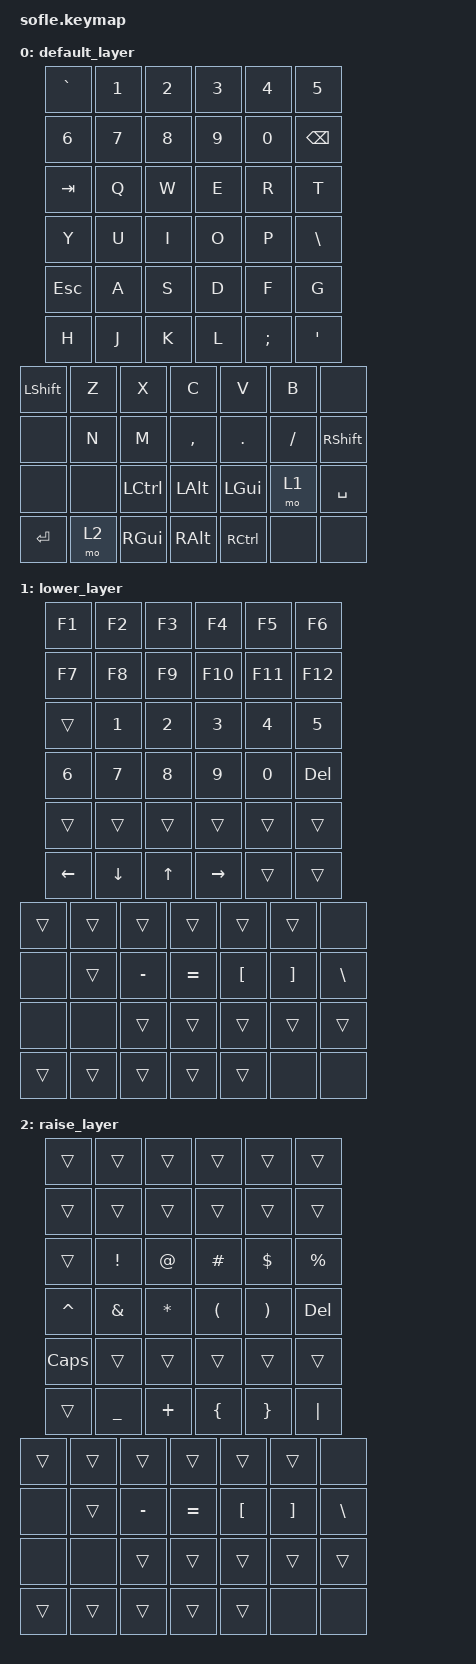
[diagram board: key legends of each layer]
/*
 * Copyright (c) 2024 He3F
 * SPDX-License-Identifier: MIT
 *
 * Sofle keymap – 3 layers, 64 bindings each.
 *
 * Physical layout (left | right) with transform column indices:
 *
 *  Row 0 (12):  K  K  K  K  K  K  [skip 6,7]  K  K  K  K  K  K
 *  Row 1 (12):  K  K  K  K  K  K  [skip 6,7]  K  K  K  K  K  K
 *  Row 2 (12):  K  K  K  K  K  K  [skip 6,7]  K  K  K  K  K  K
 *  Row 3 (14):  K  K  K  K  K  K  R            R  K  K  K  K  K  K
 *  Row 4 (14):  #  #  K  K  K  K  K            K  K  K  K  K  #  #
 *
 *  #  = empty matrix position (not wired)     → &none
 *  R  = rotary encoder push-button            → &none until CONFIG_EC11 enabled
 *  K  = regular key switch
 *
 * Binding order mirrors the transform map exactly (left→right, top→bottom).
 * Right-half bindings are &trans placeholders while running left-only
 * (CONFIG_ZMK_SPLIT=n); they activate once split mode is enabled.
 *
 * ┌──────┬──────┬──────┬──────┬──────┬──────┐                   ┌──────┬──────┬──────┬──────┬──────┬──────┐
 * │  `   │  1   │  2   │  3   │  4   │  5   │                   │  6   │  7   │  8   │  9   │  0   │ BSPC │
 * ├──────┼──────┼──────┼──────┼──────┼──────┤                   ├──────┼──────┼──────┼──────┼──────┼──────┤
 * │ TAB  │  Q   │  W   │  E   │  R   │  T   │                   │  Y   │  U   │  I   │  O   │  P   │  \   │
 * ├──────┼──────┼──────┼──────┼──────┼──────┤                   ├──────┼──────┼──────┼──────┼──────┼──────┤
 * │ ESC  │  A   │  S   │  D   │  F   │  G   │                   │  H   │  J   │  K   │  L   │  ;   │  '   │
 * ├──────┼──────┼──────┼──────┼──────┼──────┼──────┐   ┌──────┼──────┼──────┼──────┼──────┼──────┼──────┤
 * │LSHFT │  Z   │  X   │  C   │  V   │  B   │[enc] │   │[enc] │  N   │  M   │  ,   │  .   │  /   │RSHFT │
 * ├──────┼──────┼──────┼──────┼──────┼──────┼──────┤   ├──────┼──────┼──────┼──────┼──────┼──────┼──────┤
 * │  [#] │  [#] │LCTRL │ LALT │ LGUI │MO(1) │ SPC  │   │ ENT  │MO(2) │ RGUI │ RALT │RCTRL │  [#] │  [#] │
 * └──────┴──────┴──────┴──────┴──────┴──────┴──────┘   └──────┴──────┴──────┴──────┴──────┴──────┴──────┘
 *  [#] = empty (not wired)   [enc] = encoder button (disabled for now)
 */

#include <behaviors.dtsi>
#include <dt-bindings/zmk/keys.h>

/ {
    keymap {
        compatible = "zmk,keymap";

        /* ───────────────────────── Layer 0 – QWERTY default ───────────────────────── */
        default_layer {
            bindings = <
            /* row 0 – number row                                   12 keys             */
            &kp GRAVE  &kp N1     &kp N2     &kp N3     &kp N4     &kp N5
                                                                               &kp N6     &kp N7     &kp N8     &kp N9     &kp N0     &kp BSPC
            /* row 1 – QWERTY                                       12 keys             */
            &kp TAB    &kp Q      &kp W      &kp E      &kp R      &kp T
                                                                               &kp Y      &kp U      &kp I      &kp O      &kp P      &kp BSLH
            /* row 2 – home row                                     12 keys             */
            &kp ESC    &kp A      &kp S      &kp D      &kp F      &kp G
                                                                               &kp H      &kp J      &kp K      &kp L      &kp SEMI   &kp SQT
            /* row 3 – bottom row; col 6 = enc btn L, col 7 = enc btn R   14 keys      */
            &kp LSHFT  &kp Z      &kp X      &kp C      &kp V      &kp B      &none
                                                                    &none      &kp N      &kp M      &kp COMMA  &kp DOT    &kp FSLH   &kp RSHFT
            /* row 4 – thumb cluster; cols 0-1 empty L, cols 12-13 empty R 14 keys     */
            &none      &none      &kp LCTRL  &kp LALT   &kp LGUI   &mo 1      &kp SPACE
                                                                    &kp RET    &mo 2      &kp RGUI   &kp RALT   &kp RCTRL  &none      &none
            >;
        };

        /* ─────────────────────── Layer 1 – Lower (numbers / nav) ──────────────────── */
        lower_layer {
            /*
             * ┌────┬────┬────┬────┬────┬────┐             ┌────┬────┬────┬────┬────┬────┐
             * │ F1 │ F2 │ F3 │ F4 │ F5 │ F6 │             │ F7 │ F8 │ F9 │F10 │F11 │F12 │
             * ├────┼────┼────┼────┼────┼────┤             ├────┼────┼────┼────┼────┼────┤
             * │    │  1 │  2 │  3 │  4 │  5 │             │  6 │  7 │  8 │  9 │  0 │ DEL│
             * ├────┼────┼────┼────┼────┼────┤             ├────┼────┼────┼────┼────┼────┤
             * │    │    │    │    │    │    │             │ ◄  │ ▼  │ ▲  │ ►  │    │    │
             * ├────┼────┼────┼────┼────┼────┼────┐ ┌────┼────┼────┼────┼────┼────┼────┤
             * │    │    │    │    │    │    │    │ │    │    │  - │  = │  [ │  ] │  \ │    │
             * ├────┼────┼────┼────┼────┼────┼────┤ ├────┼────┼────┼────┼────┼────┼────┤
             * │ [#]│ [#]│    │    │    │[MO1│    │ │    │[MO2│    │    │    │ [#]│ [#]│
             * └────┴────┴────┴────┴────┴────┴────┘ └────┴────┴────┴────┴────┴────┴────┘
             */
            bindings = <
            /* row 0 – function keys                                12 keys             */
            &kp F1     &kp F2     &kp F3     &kp F4     &kp F5     &kp F6
                                                                               &kp F7     &kp F8     &kp F9     &kp F10    &kp F11    &kp F12
            /* row 1 – number row + DEL                            12 keys             */
            &trans     &kp N1     &kp N2     &kp N3     &kp N4     &kp N5
                                                                               &kp N6     &kp N7     &kp N8     &kp N9     &kp N0     &kp DEL
            /* row 2 – arrow cluster on right                      12 keys             */
            &trans     &trans     &trans     &trans     &trans     &trans
                                                                               &kp LEFT   &kp DOWN   &kp UP     &kp RIGHT  &trans     &trans
            /* row 3                                               14 keys             */
            &trans     &trans     &trans     &trans     &trans     &trans     &none
                                                                    &none      &trans     &kp MINUS  &kp EQUAL  &kp LBKT   &kp RBKT   &kp BSLH
            /* row 4 – outer empties stay dead, held layer key transparent  14 keys   */
            &none      &none      &trans     &trans     &trans     &trans     &trans
                                                                    &trans     &trans     &trans     &trans     &trans     &none      &none
            >;
        };

        /* ─────────────────────── Layer 2 – Raise (symbols) ────────────────────────── */
        raise_layer {
            /*
             * ┌────┬────┬────┬────┬────┬────┐             ┌────┬────┬────┬────┬────┬────┐
             * │    │    │    │    │    │    │             │    │    │    │    │    │    │
             * ├────┼────┼────┼────┼────┼────┤             ├────┼────┼────┼────┼────┼────┤
             * │    │  ! │  @ │  # │  $ │  % │             │  ^ │  & │  * │  ( │  ) │ DEL│
             * ├────┼────┼────┼────┼────┼────┤             ├────┼────┼────┼────┼────┼────┤
             * │CAPS│    │    │    │    │    │             │    │  _ │  + │  { │  } │  | │
             * ├────┼────┼────┼────┼────┼────┼────┐ ┌────┼────┼────┼────┼────┼────┼────┤
             * │    │    │    │    │    │    │    │ │    │    │  - │  = │  [ │  ] │  \ │    │
             * ├────┼────┼────┼────┼────┼────┼────┤ ├────┼────┼────┼────┼────┼────┼────┤
             * │ [#]│ [#]│    │    │    │    │    │ │    │[MO2│    │    │    │ [#]│ [#]│
             * └────┴────┴────┴────┴────┴────┴────┘ └────┴────┴────┴────┴────┴────┴────┘
             */
            bindings = <
            /* row 0                                                12 keys             */
            &trans     &trans     &trans     &trans     &trans     &trans
                                                                               &trans     &trans     &trans     &trans     &trans     &trans
            /* row 1 – shifted number-row symbols                  12 keys             */
            &trans     &kp EXCL   &kp AT     &kp HASH   &kp DLLR   &kp PRCNT
                                                                               &kp CARET  &kp AMPS   &kp STAR   &kp LPAR   &kp RPAR   &kp DEL
            /* row 2 – shifted punctuation on right home row       12 keys             */
            &kp CAPS   &trans     &trans     &trans     &trans     &trans
                                                                               &trans     &kp UNDER  &kp PLUS   &kp LBRC   &kp RBRC   &kp PIPE
            /* row 3 – unshifted bracket/punct for one-hand reach  14 keys             */
            &trans     &trans     &trans     &trans     &trans     &trans     &none
                                                                    &none      &trans     &kp MINUS  &kp EQUAL  &kp LBKT   &kp RBKT   &kp BSLH
            /* row 4                                               14 keys             */
            &none      &none      &trans     &trans     &trans     &trans     &trans
                                                                    &trans     &trans     &trans     &trans     &trans     &none      &none
            >;
        };
    };
};
